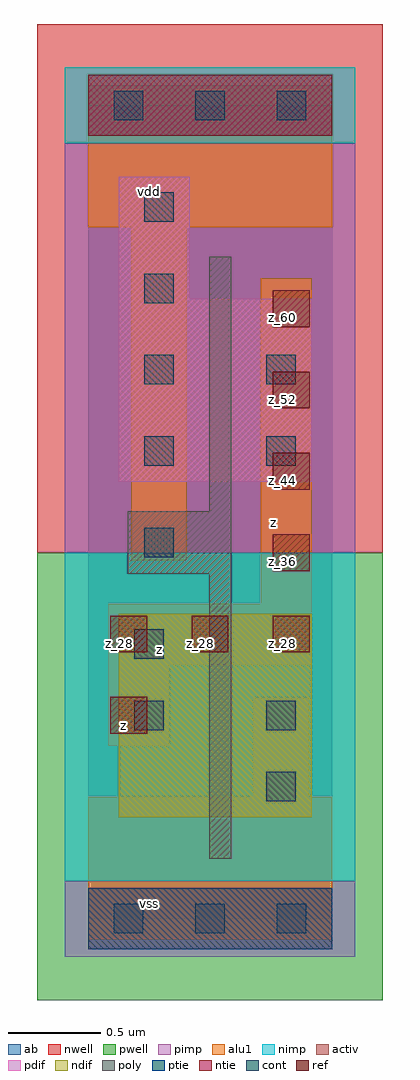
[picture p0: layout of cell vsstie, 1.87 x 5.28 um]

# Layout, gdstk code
import gdstk
lib = gdstk.Library(unit=1e-6, precision=2.5e-09)
def R(c, l, rs):  # rectangles x0, y0, x1, y1
    for r in rs: c.add(gdstk.rectangle(r[:2], r[2:], *l))
def A(c, l, x, y, w, h, nx, ny, dx, dy):  # array of equal rectangles
    R(c, l, [(x+i*dx, y+j*dy, x+i*dx+w, y+j*dy+h) for i in range(nx) for j in range(ny)])
ndif = (3, 0)
pdif = (4, 0)
ntie = (5, 0)
ptie = (6, 0)
ref = (24, 0)
cont = (25, 0)
pwell = (41, 0)
nwell = (42, 0)
activ = (43, 0)
pimp = (44, 0)
nimp = (45, 0)
poly = (46, 0)
alu1 = (49, 0)
ab = (63, 0)

vsstie = lib.new_cell('vsstie')
R(vsstie, ndif, [(0.165,0.55,1.21,1.65)])
R(vsstie, pdif, [(0.165,2.365,1.21,3.355), (0.165,3.355,0.55,4.015)])
R(vsstie, ntie, [(0,4.235,1.32,4.565)])
R(vsstie, ptie, [(0,-0.165,1.32,0.165)])
A(vsstie, ref, 0.12, 1.44, 0.2, 0.2, 3, 1, 0.44, 0)
A(vsstie, ref, 1, 1.88, 0.2, 0.2, 1, 4, 0, 0.44)
R(vsstie, ref, [(0.12,1,0.32,1.2)])
A(vsstie, cont, 0.14, -0.08, 0.16, 0.16, 3, 2, 0.44, 4.4)
A(vsstie, cont, 0.305, 2.45, 0.16, 0.16, 1, 4, 0, 0.44)
R(vsstie, cont, [(0.965,0.635,1.125,0.795), (0.25,1.02,0.41,1.18), (0.965,1.02,1.125,1.18), (0.25,1.405,0.41,1.565), (0.305,1.955,0.465,2.115), (0.965,2.45,1.125,2.61), (0.965,2.89,1.125,3.05)])
R(vsstie, pwell, [(-0.275,-0.44,1.595,1.98)])
R(vsstie, nwell, [(-0.275,1.98,1.595,4.84)])
R(vsstie, activ, [(0,-0.165,1.32,0.165), (0.165,0.55,1.21,1.65), (0.165,2.365,1.21,3.355), (0.165,3.355,0.55,4.015), (0,4.235,1.32,4.565)])
R(vsstie, pimp, [(-0.125,-0.205,1.445,0.205), (-0.125,1.98,1.445,4.195)])
R(vsstie, nimp, [(-0.125,0.205,1.445,1.98), (-0.125,4.195,1.445,4.605)])
R(vsstie, poly, [(0.655,0.325,0.775,1.865), (0.215,1.865,0.775,2.205), (0.655,2.205,0.775,3.58)])
R(vsstie, alu1, [(0,-0.11,1.32,0.66), (0.895,0.66,1.195,1.195), (0.11,0.935,0.44,1.375), (0.11,1.375,1.21,1.705), (0.935,1.705,1.21,3.465), (0.235,1.94,0.535,3.74), (0,3.74,1.32,4.51)])
R(vsstie, ab, [(0,0,1.32,4.4)])
vsstie.add(gdstk.Label('vss', (0.33,0.0825), layer=49, texttype=0))
vsstie.add(gdstk.Label('z', (0.1925,1.045), layer=49, texttype=0))
vsstie.add(gdstk.Label('z', (0.385,1.4575), layer=49, texttype=0))
vsstie.add(gdstk.Label('z', (1.0025,2.145), layer=49, texttype=0))
vsstie.add(gdstk.Label('vdd', (0.33,3.9325), layer=49, texttype=0))
vsstie.add(gdstk.Label('z_28', (0.17,1.49), layer=24, texttype=0))
vsstie.add(gdstk.Label('z_20', (0.17,1.05), layer=24, texttype=0))
vsstie.add(gdstk.Label('z_60', (1.05,3.25), layer=24, texttype=0))
vsstie.add(gdstk.Label('z_52', (1.05,2.81), layer=24, texttype=0))
vsstie.add(gdstk.Label('z_44', (1.05,2.37), layer=24, texttype=0))
vsstie.add(gdstk.Label('z_36', (1.05,1.93), layer=24, texttype=0))
vsstie.add(gdstk.Label('z_28', (1.05,1.49), layer=24, texttype=0))
vsstie.add(gdstk.Label('z_28', (0.61,1.49), layer=24, texttype=0))

lib.write_gds('vsstie.gds')
